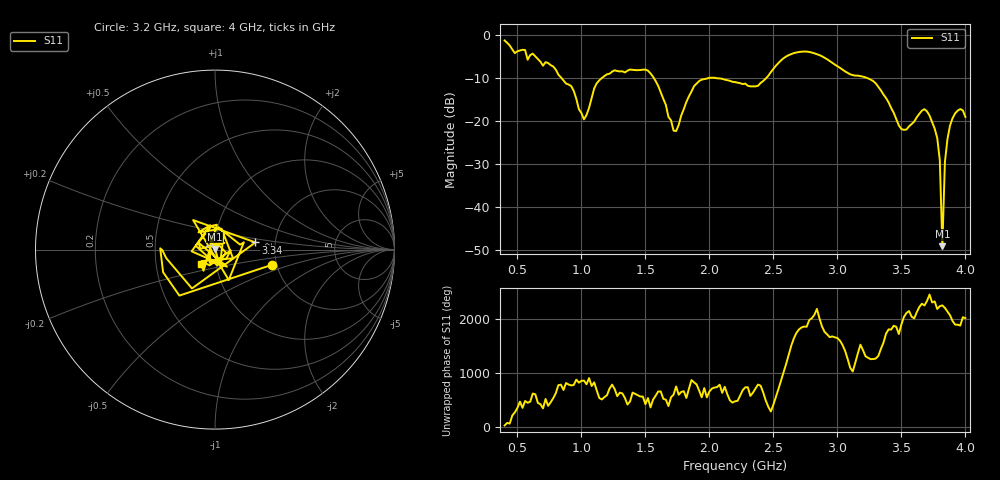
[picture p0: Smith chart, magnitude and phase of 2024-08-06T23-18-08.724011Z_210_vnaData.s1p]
!Created with skrf (http://scikit-rf.org).
# Hz S RI R 50.0
!freq ReS11 ImS11
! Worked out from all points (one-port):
!   181 points, 400 MHz to 4 GHz, reference 50 ohm
!   lowest |S11| = -49.0 dB at 3.82 GHz (marker M1), VSWR 1.01, Z = 49.9 + j0.344 ohm
!   |S11| at or under -10 dB: 1.567 GHz to 1.987 GHz (419.3 MHz wide, 23.6 % of centre); 2.063 GHz to 2.442 GHz (379.6 MHz wide, 16.9 % of centre); 3.238 GHz to end of sweep (the widest 3 of 4)
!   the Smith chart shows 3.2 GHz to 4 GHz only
!   S11 on the Smith chart (normalised r, x): 3.2 GHz: 1.89, -0.36; 3.34 GHz: 1.57, +0.13; 4 GHz: 0.84, -0.13
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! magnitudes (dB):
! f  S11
! 400 MHz  -1.2
! 860 MHz  -10.5
! 920 MHz  -11.8
! 1.02 GHz  -19.5
! 1.12 GHz  -11.1
! 1.3 GHz  -8.4
! 1.52 GHz  -8.2
! 1.6 GHz  -11.8
! 1.72 GHz  -22.2
! 1.76 GHz  -20.9
! 1.92 GHz  -10.6
! 2.2 GHz  -10.9
! 2.38 GHz  -11.7
! 2.66 GHz  -4.1
! 2.86 GHz  -4.6
! 3.1 GHz  -9.1
! 3.2 GHz  -9.6
! 3.34 GHz  -12.8
! 3.5 GHz  -21.8
! 3.56 GHz  -21.2
! 3.68 GHz  -17.2
! 3.76 GHz  -21.7
! 3.8 GHz  -29.0
! 3.82 GHz  -49.0
! 3.84 GHz  -29.4
! 3.86 GHz  -24.1
! 3.92 GHz  -18.1
! 4 GHz  -19.0
